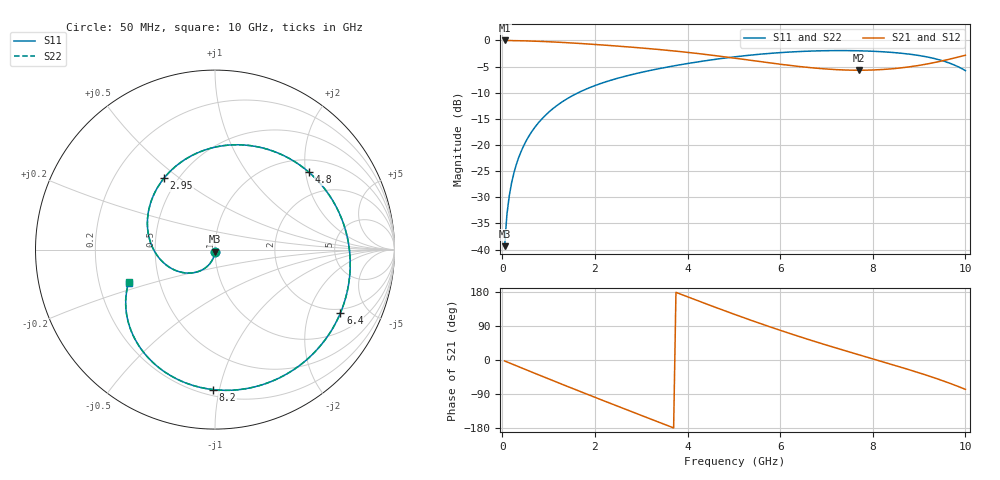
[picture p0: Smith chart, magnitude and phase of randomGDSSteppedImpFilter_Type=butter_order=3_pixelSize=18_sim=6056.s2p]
! freq	dB(S11)	phase(S11)	dB(S12)	phase(S12)
!  dB(S21)	phase(S21)	dB(S22)	phase(S22)
!S-par simulation data
#  GHz  S  DB  R 50
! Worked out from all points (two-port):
!   200 points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, 50 MHz to 10 GHz, reference 50 ohm
!   highest |S21| = 0.00 dB at 50 MHz (marker M1); lowest = -5.7 dB at 7.7 GHz (marker M2)
!   |S21| within 3 dB of the highest: start of sweep to 4.686 GHz; 9.922 GHz to end of sweep
!   lowest |S11| = -39.3 dB at 50 MHz (marker M3), VSWR 1.02, Z = 49.9 - j1.08 ohm
!   |S11| at or under -10 dB: start of sweep to 1.639 GHz
!   |S22| runs from -39.3 to -1.9 dB; largest |S21 - S12| = 0
!   S11 on the Smith chart (normalised r, x): 50 MHz: 1.00, -0.02; 2.95 GHz: 0.42, +0.44; 4.8 GHz: 1.31, +2.09; 6.4 GHz: 1.79, -3.27; 8.2 GHz: 0.24, -0.96; 10 GHz: 0.33, -0.17
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0.05  -39.34 -92.1  -0.00 -2.5  -0.00 -2.5  -39.34 -92.1
0.1  -33.28 -94.8  -0.01 -5.1  -0.01 -5.1  -33.28 -94.8
0.2  -27.27 -100.4  -0.02 -10.1  -0.02 -10.1  -27.27 -100.4
0.35  -22.49 -108.1  -0.05 -17.6  -0.05 -17.6  -22.49 -108.1
0.5  -19.47 -115.6  -0.08 -25.1  -0.08 -25.1  -19.47 -115.6
0.8  -15.54 -130.6  -0.17 -40.0  -0.17 -40.0  -15.54 -130.6
1.15  -12.64 -148.0  -0.31 -57.2  -0.31 -57.2  -12.64 -148.0
1.75  -9.54 -177.2  -0.62 -86.4  -0.62 -86.4  -9.54 -177.2
2.3  -7.73 156.4  -0.95 -112.8  -0.95 -112.8  -7.73 156.4
2.95  -6.21 125.4  -1.40 -143.7  -1.40 -143.7  -6.21 125.4
3.4  -5.37 104.1  -1.75 -165.0  -1.75 -165.0  -5.37 104.0
4.05  -4.34 73.6  -2.33 164.4  -2.33 164.4  -4.34 73.6
4.8  -3.38 39.5  -3.13 130.0  -3.13 130.0  -3.38 39.5
5.05  -3.11 28.5  -3.43 118.9  -3.43 118.9  -3.11 28.5
5.7  -2.53 0.9  -4.21 90.8  -4.21 90.8  -2.53 0.9
6.4  -2.13 -26.9  -4.97 62.3  -4.97 62.3  -2.13 -26.9
6.7  -2.02 -38.2  -5.24 50.7  -5.24 50.7  -2.02 -38.2
7.7  -1.98 -73.8  -5.70 13.8  -5.70 13.8  -1.98 -73.8
8.2  -2.16 -90.9  -5.56 -4.1  -5.56 -4.1  -2.16 -90.9
8.35  -2.25 -96.0  -5.47 -9.5  -5.47 -9.5  -2.25 -96.1
9.3  -3.40 -130.1  -4.28 -45.8  -4.28 -45.8  -3.40 -130.2
10  -5.77 -159.1  -2.83 -77.5  -2.83 -77.5  -5.78 -159.3
